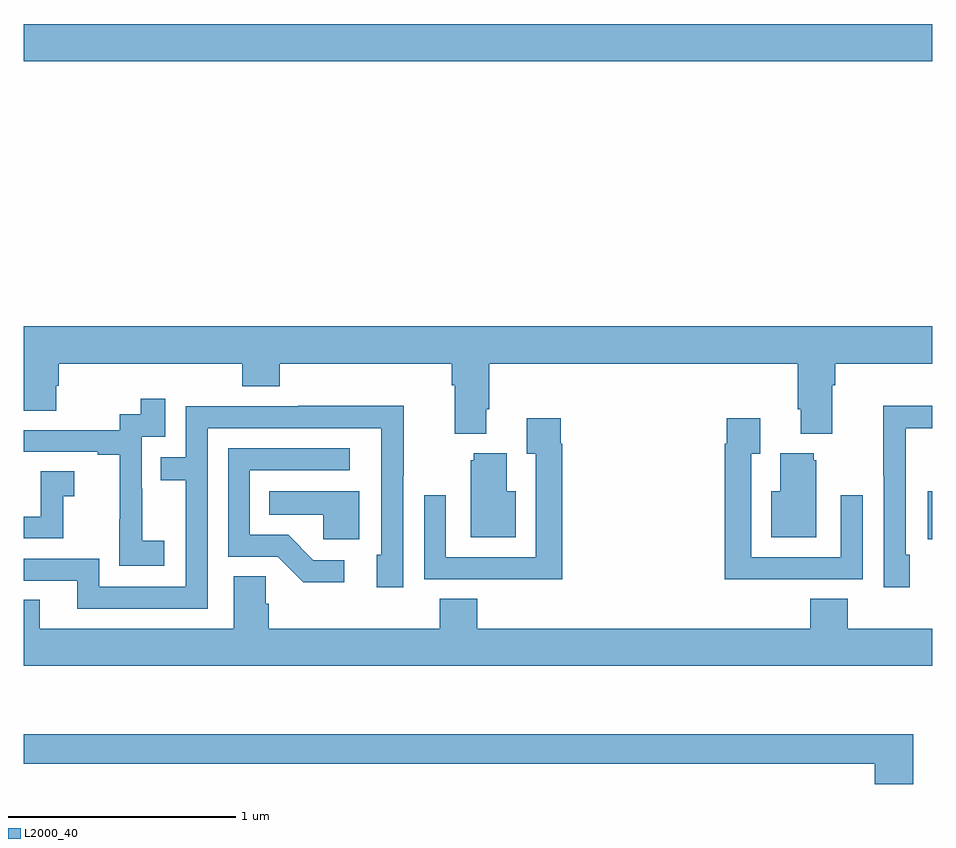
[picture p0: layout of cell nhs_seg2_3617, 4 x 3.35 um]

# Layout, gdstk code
import gdstk
lib = gdstk.Library(unit=1e-6, precision=1e-09)
def R(c, l, rs):  # rectangles x0, y0, x1, y1
    for r in rs: c.add(gdstk.rectangle(r[:2], r[2:], *l))
def P(c, l, *ps):  # polygons
    for p in ps: c.add(gdstk.Polygon(p, *l))
L2000_40 = (2000, 40)

nhs_seg2_3617 = lib.new_cell('nhs_seg2_3617')
R(nhs_seg2_3617, L2000_40, [(304.982,630.878,305,631.09), (301,632.984,305,633.148)])
P(nhs_seg2_3617, L2000_40, [(303.037,631.45),(303.05,631.45),(303.05,631.652),(304.409,631.652),(304.409,631.45),(304.421,631.45),(304.421,631.343),(304.561,631.343),(304.561,631.556),(304.574,631.556),(304.574,631.652),(305,631.652),(305,631.816),(301,631.816),(301,631.444),(301.141,631.444),(301.141,631.554),(301.154,631.554),(301.154,631.652),(301.961,631.652),(301.961,631.553),(302.126,631.553),(302.126,631.652),(302.885,631.652),(302.885,631.556),(302.897,631.556),(302.897,631.343),(303.037,631.343)],
  [(301.618,630.871),(301.52,630.871),(301.52,631.1),(301.518,631.1),(301.518,631.329),(301.623,631.329),(301.623,631.498),(301.515,631.498),(301.515,631.428),(301.422,631.428),(301.422,631.359),(301,631.359),(301,631.263),(301.325,631.263),(301.325,631.251),(301.421,631.251),(301.421,630.967),(301.42,630.967),(301.42,630.761),(301.618,630.761)],
  [(301.809,631.368),(302.573,631.368),(302.573,631.114),(302.574,631.114),(302.574,630.81),(302.555,630.81),(302.555,630.666),(302.67,630.666),(302.67,631.159),(302.673,631.159),(302.673,631.466),(302.209,631.466),(302.209,631.464),(301.713,631.464),(301.713,631.239),(301.603,631.239),(301.603,631.138),(301.713,631.138),(301.713,630.669),(301.332,630.669),(301.332,630.792),(301,630.792),(301,630.696),(301.235,630.696),(301.235,630.573),(301.809,630.573)],
  [(304.903,630.81),(304.884,630.81),(304.884,631.114),(304.885,631.114),(304.885,631.368),(305,631.368),(305,631.466),(304.786,631.466),(304.786,631.159),(304.788,631.159),(304.788,630.666),(304.903,630.666)],
  [(303.371,631.298),(303.364,631.298),(303.364,631.411),(303.215,631.411),(303.215,631.255),(303.255,631.255),(303.255,630.798),(302.859,630.798),(302.859,631.072),(302.763,631.072),(302.763,630.702),(303.079,630.702),(303.079,630.701),(303.371,630.701)],
  [(304.379,630.702),(304.695,630.702),(304.695,631.072),(304.599,631.072),(304.599,630.798),(304.203,630.798),(304.203,631.255),(304.243,631.255),(304.243,631.411),(304.095,631.411),(304.095,631.298),(304.087,631.298),(304.087,630.701),(304.379,630.701)],
  [(302.41,630.786),(302.275,630.786),(302.164,630.897),(301.995,630.897),(301.995,631.182),(302.434,631.182),(302.434,631.278),(301.899,631.278),(301.899,630.801),(302.118,630.801),(302.231,630.689),(302.41,630.689)],
  [(303.166,631.09),(303.127,631.09),(303.127,631.258),(302.981,631.258),(302.981,631.227),(302.969,631.227),(302.969,630.887),(303.166,630.887)],
  [(304.489,631.227),(304.478,631.227),(304.478,631.258),(304.331,631.258),(304.331,631.09),(304.292,631.09),(304.292,630.887),(304.489,630.887)],
  [(301.173,631.067),(301.222,631.067),(301.222,631.177),(301.074,631.177),(301.074,630.978),(301,630.978),(301,630.882),(301.173,630.882)],
  [(302.476,631.09),(302.08,631.09),(302.08,630.986),(302.319,630.986),(302.319,630.878),(302.476,630.878)],
  [(301,630.611),(301,630.32),(305,630.32),(305,630.484),(304.628,630.484),(304.628,630.617),(304.463,630.617),(304.463,630.484),(302.996,630.484),(302.996,630.617),(302.831,630.617),(302.831,630.484),(302.078,630.484),(302.078,630.593),(302.064,630.593),(302.064,630.716),(301.925,630.716),(301.925,630.484),(301.069,630.484),(301.069,630.611)],
  [(304.918,630.019),(301,630.019),(301,629.89),(304.748,629.89),(304.748,629.8),(304.918,629.8)])

lib.write_gds('nhs_seg2_3617.gds')
